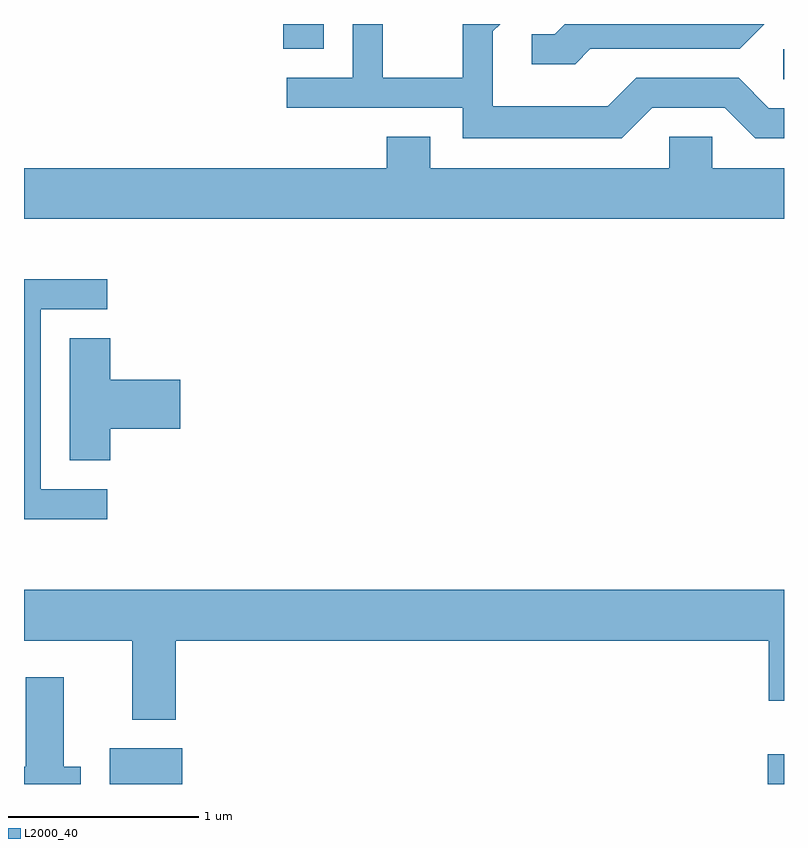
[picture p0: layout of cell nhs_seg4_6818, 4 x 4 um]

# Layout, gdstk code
import gdstk
lib = gdstk.Library(unit=1e-6, precision=1e-09)
def R(c, l, rs):  # rectangles x0, y0, x1, y1
    for r in rs: c.add(gdstk.rectangle(r[:2], r[2:], *l))
def P(c, l, *ps):  # polygons
    for p in ps: c.add(gdstk.Polygon(p, *l))
L2000_40 = (2000, 40)

nhs_seg4_6818 = lib.new_cell('nhs_seg4_6818')
R(nhs_seg4_6818, L2000_40, [(386.061,1293.982,386.444,1294.169), (389.526,1293.982,389.611,1294.139), (389.608,1297.691,389.611,1297.849), (386.976,1297.851,387.189,1297.982)])
P(nhs_seg4_6818, L2000_40, [(388.917,1297.541),(389.299,1297.541),(389.459,1297.381),(389.611,1297.381),(389.611,1297.539),(389.532,1297.539),(389.372,1297.699),(388.834,1297.699),(388.684,1297.549),(388.079,1297.549),(388.079,1297.944),(388.117,1297.982),(387.921,1297.982),(387.921,1297.699),(387.499,1297.699),(387.499,1297.982),(387.341,1297.982),(387.341,1297.699),(386.993,1297.699),(386.993,1297.541),(387.921,1297.541),(387.921,1297.381),(388.757,1297.381)],
  [(388.592,1297.851),(389.377,1297.851),(389.507,1297.982),(388.456,1297.982),(388.404,1297.929),(388.283,1297.929),(388.283,1297.771),(388.512,1297.771)],
  [(389.611,1297.224),(389.234,1297.224),(389.234,1297.389),(389.006,1297.389),(389.006,1297.224),(387.749,1297.224),(387.749,1297.389),(387.521,1297.389),(387.521,1297.224),(385.611,1297.224),(385.611,1296.956),(389.611,1296.956)],
  [(386.048,1295.534),(385.699,1295.534),(385.699,1296.481),(386.048,1296.481),(386.048,1296.639),(385.611,1296.639),(385.611,1295.376),(386.048,1295.376)],
  [(386.064,1295.851),(386.434,1295.851),(386.434,1296.109),(386.064,1296.109),(386.064,1296.329),(385.851,1296.329),(385.851,1295.686),(386.064,1295.686)],
  [(386.409,1294.736),(389.531,1294.736),(389.531,1294.421),(389.611,1294.421),(389.611,1295.004),(385.611,1295.004),(385.611,1294.736),(386.181,1294.736),(386.181,1294.321),(386.409,1294.321)],
  [(385.909,1294.074),(385.819,1294.074),(385.819,1294.544),(385.621,1294.544),(385.621,1294.074),(385.611,1294.074),(385.611,1293.982),(385.909,1293.982)])

lib.write_gds('nhs_seg4_6818.gds')
